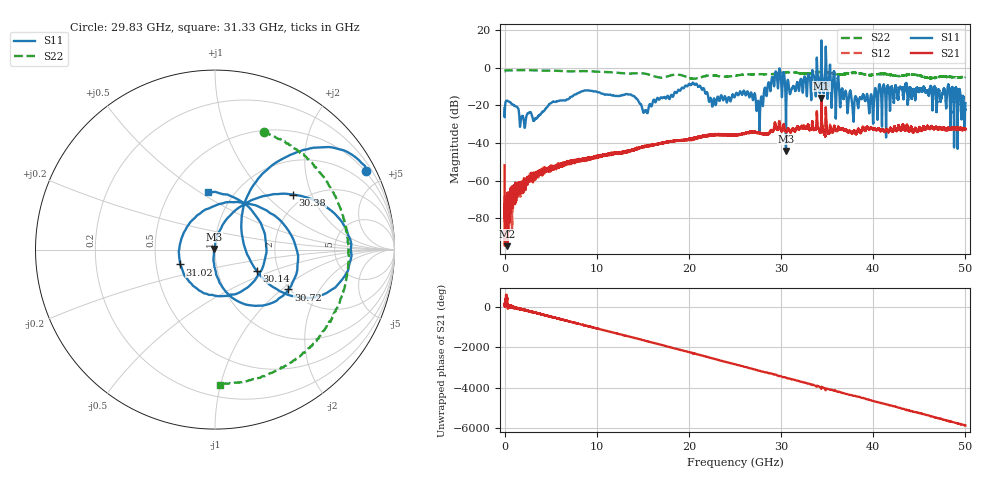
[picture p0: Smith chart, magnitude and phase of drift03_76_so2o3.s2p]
!Created with skrf (http://scikit-rf.org).
# Hz S RI R 50.0
!freq ReS11 ImS11 ReS21 ImS21 ReS12 ImS12 ReS22 ImS22
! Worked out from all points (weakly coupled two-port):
!   10001 points, 300 kHz to 50 GHz, reference 50 ohm
!   highest |S21| = -16.08 dB at 34.37 GHz (marker M1); lowest = -94.8 dB at 285.3 MHz (marker M2)
!   lowest |S11| = -44.2 dB at 30.53 GHz (marker M3), VSWR 1.01, Z = 49.5 + j0.336 ohm
!   |S11| at or under -10 dB: start of sweep to 19.55 GHz; 21.25 GHz to 28.55 GHz (7.298 GHz wide, 29.3 % of centre); 36.28 GHz to 40.61 GHz (4.332 GHz wide, 11.3 % of centre) (the widest 3 of 35)
!   |S22| runs from -5.9 to -1.3 dB; largest |S21 - S12| = 0.026
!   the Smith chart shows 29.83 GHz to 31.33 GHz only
!   S11 on the Smith chart (normalised r, x): 29.83 GHz: 0.44, +4.05; 30.14 GHz: 1.54, -0.39; 30.38 GHz: 1.73, +1.48; 30.72 GHz: 1.97, -1.12; 31.02 GHz: 0.67, -0.12; 31.33 GHz: 0.76, +0.54
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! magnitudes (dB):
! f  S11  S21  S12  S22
! 300 kHz  -21.5  -51.9  -68.0  -2.1
! 285.3 MHz  -17.6  -94.8  -75.7  -1.4
! 3.295 GHz  -27.3  -56.6  -58.0  -1.5
! 8.335 GHz  -12.6  -48.9  -49.2  -1.9
! 15.29 GHz  -22.7  -42.1  -41.9  -3.3
! 16.67 GHz  -16.5  -40.5  -40.6  -5.2
! 20.27 GHz  -9.1  -37.4  -37.8  -5.8
! 22.71 GHz  -16.4  -35.7  -35.9  -4.2
! 25 GHz  -15.3  -36.1  -35.8  -4.3
! 27.53 GHz  -17.8  -34.5  -34.4  -3.5
! 29.83 GHz  -0.4  -29.1  -28.6  -3.0
! 30.14 GHz  -11.7  -33.2  -33.5  -2.8
! 30.38 GHz  -5.5  -32.1  -32.6  -2.6
! 30.53 GHz  -44.2  -34.2  -34.1  -2.5
! 30.72 GHz  -6.6  -32.8  -32.9  -2.5
! 31.02 GHz  -13.5  -34.1  -34.2  -2.4
! 31.33 GHz  -9.9  -32.6  -32.5  -2.5
! 33.34 GHz  -7.4  -31.1  -31.1  -2.9
! 34.37 GHz  14.4  -16.1  -17.4  -2.3
! 37.87 GHz  -28.8  -33.7  -34.1  -2.9
! 41.67 GHz  -11.3  -34.1  -34.0  -3.7
! 50 GHz  -18.9  -32.3  -32.6  -4.9
